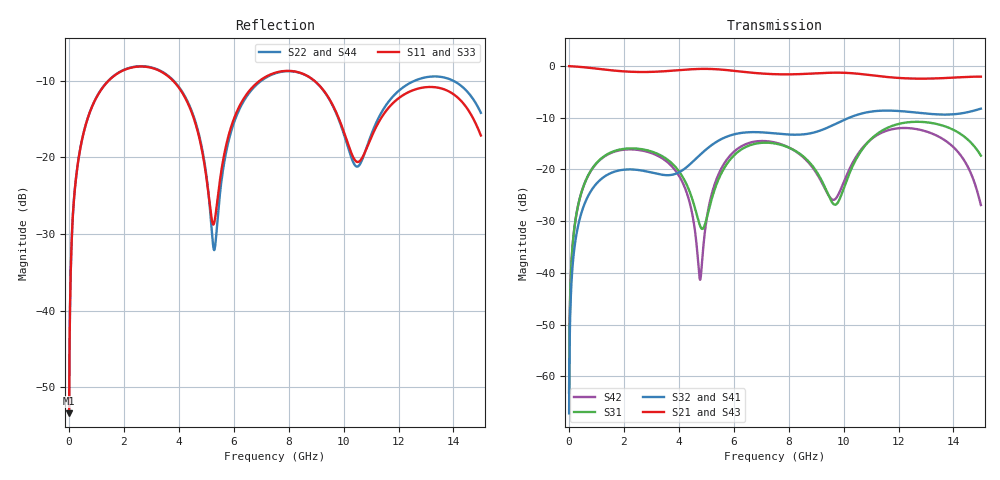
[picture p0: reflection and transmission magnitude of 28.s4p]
! Created with skrf 1.8.0 (http://scikit-rf.org).
# GHz S RI R 50.0
!freq ReS11 ImS11 ReS12 ImS12 ReS13 ImS13
! ReS14 ImS14
! ReS21 ImS21 ReS22 ImS22 ReS23 ImS23
! ReS24 ImS24
! ReS31 ImS31 ReS32 ImS32 ReS33 ImS33
! ReS34 ImS34
! ReS41 ImS41 ReS42 ImS42 ReS43 ImS43
! ReS44 ImS44
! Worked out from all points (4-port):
!   2499 points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, 5 MHz to 15 GHz, reference 50 ohm
!   strongest paths, dB at 5 MHz, 3.476 GHz, 7.19 GHz, 11.1 GHz, 15 GHz:
!     S21: 0.0, -1.0, -1.5, -1.8, -2.0
!     S43: 0.0, -1.0, -1.5, -1.8, -2.0
!     S32: -67.2, -21.1, -12.9, -8.7, -8.2
!     S41: -67.2, -21.1, -12.9, -8.7, -8.2
!     S31: -63.2, -17.7, -14.8, -13.6, -17.3
!     S42: -63.2, -18.1, -14.5, -13.8, -26.9
!   lowest |S11| = -53.4 dB at 5 MHz (marker M1), VSWR 1.00, Z = 50.2 + j0.13 ohm
!   |S11| at or under -10 dB: start of sweep to 1.442 GHz; 3.788 GHz to 6.948 GHz (3.16 GHz wide, 58.9 % of centre); 8.932 GHz to end of sweep
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0.005  0.0017 0.00129  0.9983 -0.00331  8.62e-05 0.000688  -8.36e-05 -0.000429
       0.9983 -0.00331  0.0017 0.00129  -8.36e-05 -0.000429  8.61e-05 0.000688
       8.62e-05 0.000688  -8.36e-05 -0.000429  0.0017 0.00129  0.9983 -0.00331
       -8.36e-05 -0.000429  8.61e-05 0.000688  0.9983 -0.00331  0.0017 0.00129
0.3626511  0.0322 0.0964  0.9555 -0.2366  0.0159 0.0461  -0.0129 -0.0282
           0.9555 -0.2366  0.0323 0.0964  -0.0129 -0.0282  0.0153 0.0463
           0.0159 0.0461  -0.0129 -0.0282  0.0321 0.0964  0.9555 -0.2366
           -0.0129 -0.0282  0.0153 0.0463  0.9555 -0.2366  0.0323 0.0964
1.619545  0.2933 0.1673  0.4935 -0.7597  0.141 0.0499  -0.0943 0.00316
          0.4935 -0.7597  0.2953 0.1657  -0.0944 0.0033  0.1353 0.0588
          0.141 0.0499  -0.0944 0.0033  0.2932 0.1673  0.4935 -0.7598
          -0.0943 0.00316  0.1353 0.0588  0.4935 -0.7598  0.2954 0.1657
4.77699  0.0671 -0.1074  -0.8717 -0.3492  -0.0248 -0.0137  -0.048 0.1302
         -0.8717 -0.3492  0.0584 -0.1167  -0.0466 0.1307  0.00836 0.00188
         -0.0248 -0.0137  -0.0466 0.1307  0.0666 -0.1078  -0.8717 -0.3492
         -0.048 0.1302  0.00836 0.00188  -0.8717 -0.3492  0.0592 -0.1167
8.147145  0.3635 -0.0328  -0.00888 0.8329  0.1315 -0.0844  0.2079 -0.0554
          -0.00888 0.8329  0.3627 -0.027  0.2085 -0.0602  0.1325 -0.082
          0.1315 -0.0844  0.2085 -0.0602  0.3634 -0.0284  -0.00846 0.8326
          0.2079 -0.0554  0.1325 -0.082  -0.00846 0.8326  0.364 -0.0318
10.86703  0.1117 0.0372  0.8238 -0.0318  0.0624 0.1697  -0.0327 -0.3569
          0.8238 -0.0318  0.1088 0.0501  -0.0409 -0.3555  0.0293 0.1796
          0.0624 0.1697  -0.0409 -0.3555  0.1159 0.0348  0.8238 -0.0325
          -0.0327 -0.3569  0.0293 0.1796  0.8238 -0.0325  0.1044 0.0513
15  0.1209 -0.0682  -0.5515 -0.5666  -0.0315 -0.1325  -0.2661 0.2809
    -0.5515 -0.5666  0.1263 -0.1487  -0.2566 0.2902  0.042 -0.0168
    -0.0315 -0.1325  -0.2566 0.2902  0.1211 -0.0674  -0.5528 -0.5651
    -0.2661 0.2809  0.042 -0.0168  -0.5528 -0.5651  0.1281 -0.149
